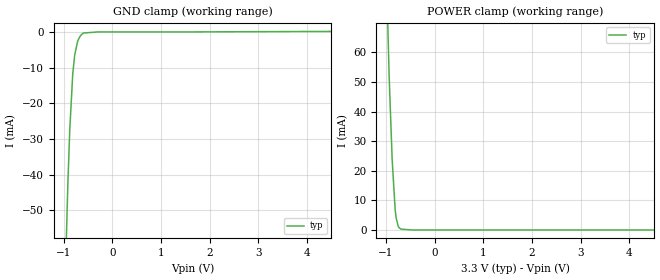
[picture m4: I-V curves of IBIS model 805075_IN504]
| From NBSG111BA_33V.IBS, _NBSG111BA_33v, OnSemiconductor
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| COPYRIGHT(C) MENTOR GRAPHICS CORPORATION 2001 ALL
| RIGHTS RESERVED. THIS WORK CONTAINS PROPRIETARY
| INFORMATION WHICH IS THE PROPERTY OF MENTOR GRAPHICS
| CORPORATION OR ITS LICENSORS. USE OF THESE MATERIALS
| IS SUBJECT TO THE TERMS BELOW.
| USE: YOU MAY USE IBIS MODELS SOLELY FOR DEVELOPING
| PRINTED CIRCUIT BOARD DESIGNS. NO OTHER USE OR
| DISTRIBUTION OF THESE MATERIALS IS PERMITTED.
| Model Application Version 1.89 2/18/99.
[Model] 805075_IN504
Model_type Input
Vinl = 800.0mV
Vinh = 2.000V
C_comp 500.0fF NA NA
| variable typ   min   max
[Voltage Range] 3.300V NA NA
[GND Clamp Reference] 0.000V NA NA
[POWER Clamp Reference] 3.300V NA NA
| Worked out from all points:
|   GND clamp passes 1 mA (typ) near -0.65 V on its own axis
|   POWER clamp passes 1 mA (typ) near -0.74 V on its own axis
[GND Clamp]
-3.3V     -1.433A    NA         NA
-1.034V   -103.5mA   NA         NA
-912mV    -42.7mA    NA         NA
-872mV    -27.3mA    NA         NA
-811mV    -11.7mA    NA         NA
-770mV    -6.4mA     NA         NA
-710mV    -2.6mA     NA         NA
-669mV    -1.4mA     NA         NA
-588mV    -300uA     NA         NA
-294mV    0A         NA         NA
6.6V      243.7uA    NA         NA
[POWER Clamp]
-3.3V     1.757A     NA         NA
-1.139V   177.2mA    NA         NA
-936mV    51.67mA    NA         NA
-875mV    23.97mA    NA         NA
-814mV    7.076mA    NA         NA
-794mV    4.177mA    NA         NA
-753mV    1.379mA    NA         NA
-733mV    780.4uA    NA         NA
-693mV    282.3uA    NA         NA
-462mV    0A         NA         NA
6.6V      0A         NA         NA
